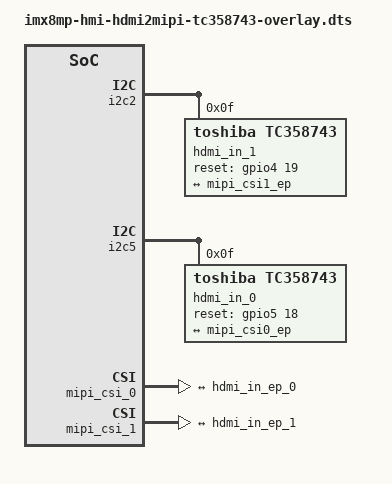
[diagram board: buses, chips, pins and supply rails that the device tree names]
// SPDX-License-Identifier: (GPL-2.0+ OR MIT)
/*
 * Copyright 2021 Technexion Ltd.
 *
 * Author: Wig Cheng <wig.cheng@technexion.com>
 *
 */

/dts-v1/;
/plugin/;

#include <dt-bindings/interrupt-controller/irq.h>
#include <dt-bindings/gpio/gpio.h>

/ {
	fragment@0 {
		target = <&i2c2>;
		__overlay__ {
			#address-cells = <1>;
			#size-cells = <0>;
			status = "okay";

			hdmi_in_1: tc358743@f {
				compatible = "toshiba,tc358743";
				reg = <0x0f>;
				pinctrl-names = "default";
				pinctrl-0 = <&pinctrl_csi1_rst>;
				reset-gpios = <&gpio4 19 GPIO_ACTIVE_HIGH>;
				status = "okay";
				port {
					hdmi_in_ep_1: endpoint {
						remote-endpoint = <&mipi_csi1_ep>;
						data-lanes = <1 2 3 4>;
						clock-lanes = <0>;
						clock-noncontinuous;
						link-frequencies = /bits/ 64 <297000000>;
					};
				};
			};
		};
	};


	fragment@1 {
		target = <&i2c5>;
		__overlay__ {
			#address-cells = <1>;
			#size-cells = <0>;
			status = "okay";

			hdmi_in_0: tc358743@f {
				compatible = "toshiba,tc358743";
				reg = <0x0f>;
				pinctrl-names = "default";
				pinctrl-0 = <&pinctrl_csi0_rst>;
				reset-gpios = <&gpio5 18 GPIO_ACTIVE_HIGH>;
				status = "okay";
				port {
					hdmi_in_ep_0: endpoint {
						remote-endpoint = <&mipi_csi0_ep>;
						data-lanes = <1 2 3 4>;
						clock-lanes = <0>;
						clock-noncontinuous;
						link-frequencies = /bits/ 64 <297000000>;
					};
				};
			};
		};
	};

	fragment@2 {
		target = <&mipi_csi_0>;
		__overlay__ {
			#address-cells = <1>;
			#size-cells = <0>;
			status = "okay";
			port@0 {
				reg = <0>;
				mipi_csi0_ep: endpoint {
					remote-endpoint = <&hdmi_in_ep_0>;
					data-lanes = <4>;
					csis-hs-settle = <13>;
					csis-clk-settle = <2>;
					csis-wclk;
				};
			};
		};
	};

	fragment@3 {
		target = <&mipi_csi_1>;
		__overlay__ {
			#address-cells = <1>;
			#size-cells = <0>;
			status = "okay";
			port@1 {
				reg = <1>;
				mipi_csi1_ep: endpoint {
					remote-endpoint = <&hdmi_in_ep_1>;
					data-lanes = <4>;
					csis-hs-settle = <13>;
					csis-clk-settle = <2>;
					csis-wclk;
				};
			};
		};
	};
};

